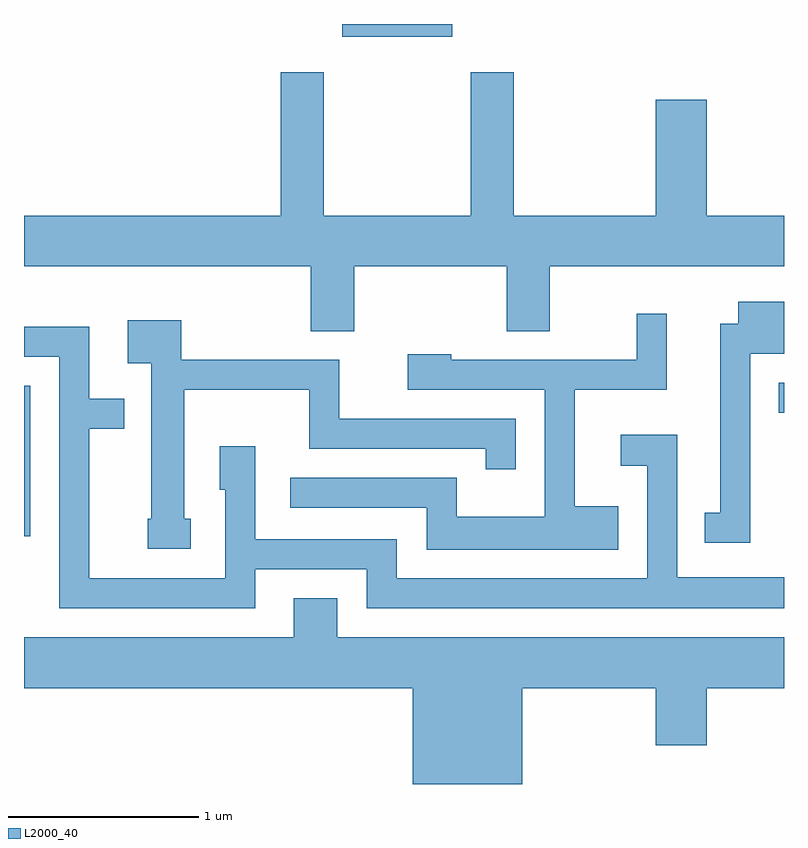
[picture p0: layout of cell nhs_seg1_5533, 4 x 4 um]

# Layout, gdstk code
import gdstk
lib = gdstk.Library(unit=1e-6, precision=1e-09)
def R(c, l, rs):  # rectangles x0, y0, x1, y1
    for r in rs: c.add(gdstk.rectangle(r[:2], r[2:], *l))
def P(c, l, *ps):  # polygons
    for p in ps: c.add(gdstk.Polygon(p, *l))
L2000_40 = (2000, 40)

nhs_seg1_5533 = lib.new_cell('nhs_seg1_5533')
R(nhs_seg1_5533, L2000_40, [(351.611,927.016,351.644,927.809), (355.583,927.666,355.611,927.824), (353.286,929.646,353.864,929.712)])
P(nhs_seg1_5533, L2000_40, [(353.349,928.436),(354.151,928.436),(354.151,928.096),(354.379,928.096),(354.379,928.436),(355.611,928.436),(355.611,928.704),(355.204,928.704),(355.204,929.314),(354.936,929.314),(354.936,928.704),(354.189,928.704),(354.189,929.459),(353.961,929.459),(353.961,928.704),(353.189,928.704),(353.189,929.459),(352.961,929.459),(352.961,928.704),(351.611,928.704),(351.611,928.436),(353.121,928.436),(353.121,928.096),(353.349,928.096)],
  [(355.434,927.976),(355.611,927.976),(355.611,928.249),(355.371,928.249),(355.371,928.134),(355.276,928.134),(355.276,927.139),(355.193,927.139),(355.193,926.981),(355.434,926.981)],
  [(354.739,927.174),(354.509,927.174),(354.509,927.786),(354.994,927.786),(354.994,928.188),(354.836,928.188),(354.836,927.944),(353.859,927.944),(353.859,927.974),(353.631,927.974),(353.631,927.786),(354.351,927.786),(354.351,927.119),(353.889,927.119),(353.889,927.324),(353.013,927.324),(353.013,927.166),(353.731,927.166),(353.731,926.946),(354.739,926.946)],
  [(352.489,927.109),(352.454,927.109),(352.454,927.786),(353.111,927.786),(353.111,927.476),(354.041,927.476),(354.041,927.368),(354.199,927.368),(354.199,927.634),(353.269,927.634),(353.269,927.944),(352.439,927.944),(352.439,928.154),(352.156,928.154),(352.156,927.926),(352.281,927.926),(352.281,927.109),(352.261,927.109),(352.261,926.951),(352.489,926.951)],
  [(352.829,926.841),(353.416,926.841),(353.416,926.636),(355.611,926.636),(355.611,926.799),(355.049,926.799),(355.049,927.549),(354.753,927.549),(354.753,927.386),(354.891,927.386),(354.891,926.794),(353.574,926.794),(353.574,926.999),(352.829,926.999),(352.829,927.489),(352.641,927.489),(352.641,927.261),(352.671,927.261),(352.671,926.794),(351.954,926.794),(351.954,927.581),(352.138,927.581),(352.138,927.739),(351.954,927.739),(351.954,928.119),(351.611,928.119),(351.611,927.961),(351.796,927.961),(351.796,926.636),(352.829,926.636)],
  [(354.234,926.216),(354.936,926.216),(354.936,925.916),(355.204,925.916),(355.204,926.216),(355.611,926.216),(355.611,926.484),(353.259,926.484),(353.259,926.689),(353.031,926.689),(353.031,926.484),(351.611,926.484),(351.611,926.216),(353.656,926.216),(353.656,925.712),(354.234,925.712)])

lib.write_gds('nhs_seg1_5533.gds')
